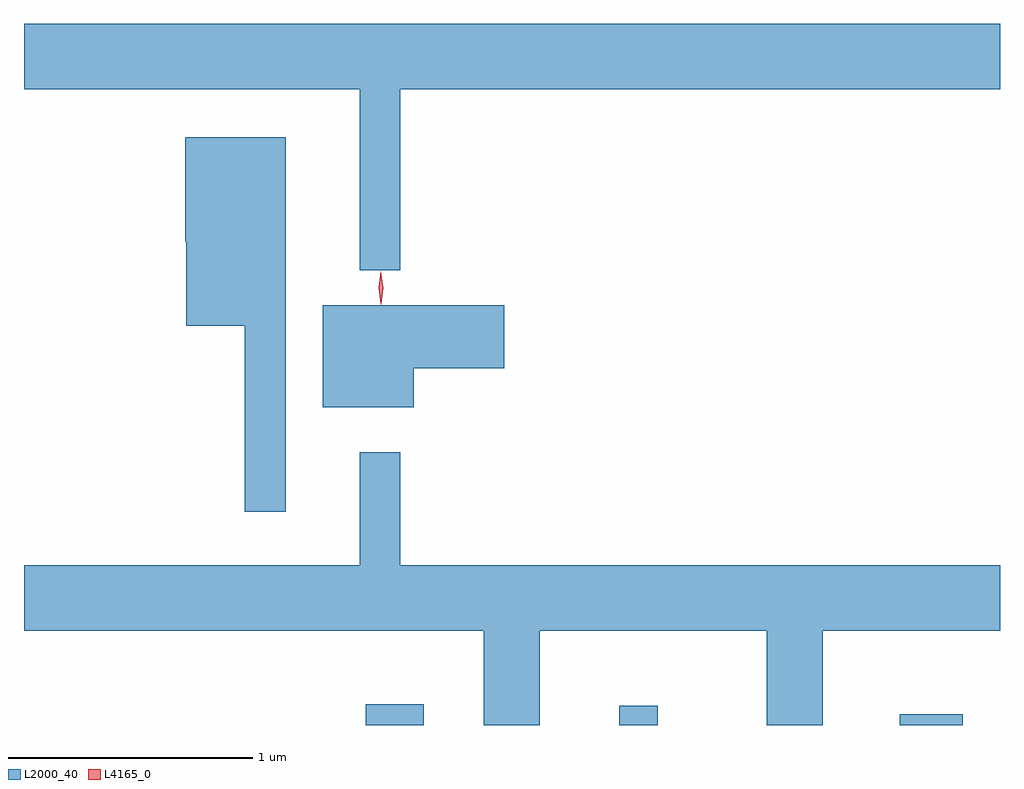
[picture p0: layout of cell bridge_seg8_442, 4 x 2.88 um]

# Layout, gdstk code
import gdstk
lib = gdstk.Library(unit=1e-6, precision=1e-09)
def R(c, l, rs):  # rectangles x0, y0, x1, y1
    for r in rs: c.add(gdstk.rectangle(r[:2], r[2:], *l))
def P(c, l, *ps):  # polygons
    for p in ps: c.add(gdstk.Polygon(p, *l))
L2000_40 = (2000, 40)
L4165_0 = (4165, 0)

bridge_seg8_442 = lib.new_cell('bridge_seg8_442')
R(bridge_seg8_442, L2000_40, [(601.206,1884.868,601.444,1884.954), (602.246,1884.868,602.404,1884.948), (603.396,1884.868,603.654,1884.914)])
P(bridge_seg8_442, L2000_40, [(601.349,1887.476),(603.806,1887.476),(603.806,1887.744),(599.806,1887.744),(599.806,1887.476),(601.181,1887.476),(601.181,1886.733),(601.349,1886.733)],
  [(600.879,1887.279),(600.466,1887.279),(600.466,1886.85),(600.471,1886.85),(600.471,1886.506),(600.711,1886.506),(600.711,1885.743),(600.879,1885.743)],
  [(601.404,1886.331),(601.774,1886.331),(601.774,1886.589),(601.031,1886.589),(601.031,1886.171),(601.404,1886.171)],
  [(601.919,1885.256),(602.851,1885.256),(602.851,1884.868),(603.079,1884.868),(603.079,1885.256),(603.806,1885.256),(603.806,1885.524),(601.349,1885.524),(601.349,1885.988),(601.181,1885.988),(601.181,1885.524),(599.806,1885.524),(599.806,1885.256),(601.691,1885.256),(601.691,1884.868),(601.919,1884.868)])
P(bridge_seg8_442, L4165_0, [(601.269,1886.594),(601.259,1886.662),(601.268,1886.73),(601.269,1886.73),(601.269,1886.73),(601.279,1886.662),(601.27,1886.594),(601.27,1886.594)],
  [(601.27,1886.6),(601.27,1886.601),(601.26,1886.664),(601.268,1886.726),(601.269,1886.727),(601.269,1886.726),(601.279,1886.664),(601.271,1886.601)])

lib.write_gds('bridge_seg8_442.gds')
